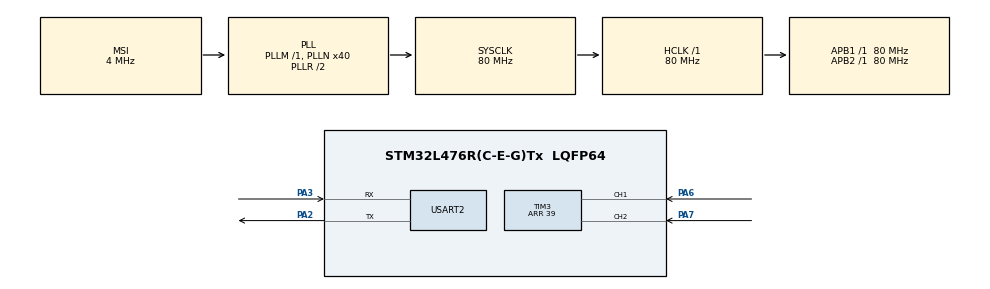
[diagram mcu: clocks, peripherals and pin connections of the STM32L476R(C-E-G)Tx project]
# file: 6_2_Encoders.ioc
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Mcu.Family=STM32L4
Mcu.Name=STM32L476R(C-E-G)Tx
Mcu.Package=LQFP64
NVIC.PriorityGroup=NVIC_PRIORITYGROUP_4
PA13\ (JTMS-SWDIO).Mode=Serial_Wire
PA13\ (JTMS-SWDIO).Signal=SYS_JTMS-SWDIO
PA14\ (JTCK-SWCLK).Mode=Serial_Wire
PA14\ (JTCK-SWCLK).Signal=SYS_JTCK-SWCLK
PA2.Mode=Asynchronous
PA2.Signal=USART2_TX
PA3.Mode=Asynchronous
PA3.Signal=USART2_RX
PA6.Signal=S_TIM3_CH1
PA7.Signal=S_TIM3_CH2
ProjectManager.HeapSize=0x200
ProjectManager.StackSize=0x400
ProjectManager.TargetToolchain=STM32CubeIDE
RCC.AHBFreq_Value=80000000
RCC.APB1Freq_Value=80000000
RCC.APB1TimFreq_Value=80000000
RCC.APB2Freq_Value=80000000
RCC.APB2TimFreq_Value=80000000
RCC.CortexFreq_Value=80000000
RCC.HCLKFreq_Value=80000000
RCC.HSE_VALUE=8000000
RCC.HSI_VALUE=16000000
RCC.LSE_VALUE=32768
RCC.MSI_VALUE=4000000
RCC.PLLN=40
RCC.SYSCLKFreq_VALUE=80000000
RCC.SYSCLKSource=RCC_SYSCLKSOURCE_PLLCLK
RCC.VCOOutputFreq_Value=160000000
SH.S_TIM3_CH1.0=TIM3_CH1,Encoder_Interface
SH.S_TIM3_CH2.0=TIM3_CH2,Encoder_Interface
TIM3.IC1Filter=15
TIM3.IC2Filter=15
TIM3.Period=39
USART2.VirtualMode-Asynchronous=VM_ASYNC
board=custom

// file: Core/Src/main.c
/* USER CODE BEGIN Header */
/**
  ******************************************************************************
  * @file           : main.c
  * @brief          : Main program body
  ******************************************************************************
  * @attention
  *
  * Copyright (c) 2024 STMicroelectronics.
  * All rights reserved.
  *
  * This software is licensed under terms that can be found in the LICENSE file
  * in the root directory of this software component.
  * If no LICENSE file comes with this software, it is provided AS-IS.
  *
  ******************************************************************************
  */
/* USER CODE END Header */
#include "main.h"

/* USER CODE BEGIN Includes */
#include <stdio.h>
/* USER CODE END Includes */

TIM_HandleTypeDef htim3;

UART_HandleTypeDef huart2;

void SystemClock_Config(void);
static void MX_GPIO_Init(void);
static void MX_USART2_UART_Init(void);
static void MX_TIM3_Init(void);

/* USER CODE BEGIN 0 */
int __io_putchar(int ch)
{
	if(ch=='\n')
	{
		uint8_t ch2='\r';	//to fix end of line
		HAL_UART_Transmit(&huart2, (uint8_t*)&ch2, 1, HAL_MAX_DELAY);
	}
    HAL_UART_Transmit(&huart2, (uint8_t*)&ch, 1, HAL_MAX_DELAY);
    return 1;
}

/* USER CODE END 0 */

int main(void)
{

  /* MCU Configuration--------------------------------------------------------*/

  /* Reset of all peripherals, Initializes the Flash interface and the Systick. */
  HAL_Init();

  /* Configure the system clock */
  SystemClock_Config();

  /* Initialize all configured peripherals */
  MX_GPIO_Init();
  MX_USART2_UART_Init();
  MX_TIM3_Init();
  /* USER CODE BEGIN 2 */
  printf("start");
  fflush(stdout);
  HAL_TIM_Encoder_Start(&htim3, TIM_CHANNEL_ALL);
  int16_t prev_value = 0;
  /* USER CODE END 2 */

  /* Infinite loop */
  /* USER CODE BEGIN WHILE */

  while (1)
  {
	  int16_t value = __HAL_TIM_GET_COUNTER(&htim3);
	  if (value != prev_value) {
	  printf("value = %d\n", value);
	  prev_value = value;
	  }
    /* USER CODE END WHILE */

  }
}

void SystemClock_Config(void)
{
  RCC_OscInitTypeDef RCC_OscInitStruct = {0};
  RCC_ClkInitTypeDef RCC_ClkInitStruct = {0};

  /** Configure the main internal regulator output voltage
  */
  if (HAL_PWREx_ControlVoltageScaling(PWR_REGULATOR_VOLTAGE_SCALE1) != HAL_OK)
  {
    Error_Handler();
  }

  /** Initializes the RCC Oscillators according to the specified parameters
  * in the RCC_OscInitTypeDef structure.
  */
  RCC_OscInitStruct.OscillatorType = RCC_OSCILLATORTYPE_MSI;
  RCC_OscInitStruct.MSIState = RCC_MSI_ON;
  RCC_OscInitStruct.MSICalibrationValue = 0;
  RCC_OscInitStruct.MSIClockRange = RCC_MSIRANGE_6;
  RCC_OscInitStruct.PLL.PLLState = RCC_PLL_ON;
  RCC_OscInitStruct.PLL.PLLSource = RCC_PLLSOURCE_MSI;
  RCC_OscInitStruct.PLL.PLLM = 1;
  RCC_OscInitStruct.PLL.PLLN = 40;
  RCC_OscInitStruct.PLL.PLLP = RCC_PLLP_DIV7;
  RCC_OscInitStruct.PLL.PLLQ = RCC_PLLQ_DIV2;
  RCC_OscInitStruct.PLL.PLLR = RCC_PLLR_DIV2;
  if (HAL_RCC_OscConfig(&RCC_OscInitStruct) != HAL_OK)
  {
    Error_Handler();
  }

  /** Initializes the CPU, AHB and APB buses clocks
  */
  RCC_ClkInitStruct.ClockType = RCC_CLOCKTYPE_HCLK|RCC_CLOCKTYPE_SYSCLK
                              |RCC_CLOCKTYPE_PCLK1|RCC_CLOCKTYPE_PCLK2;
  RCC_ClkInitStruct.SYSCLKSource = RCC_SYSCLKSOURCE_PLLCLK;
  RCC_ClkInitStruct.AHBCLKDivider = RCC_SYSCLK_DIV1;
  RCC_ClkInitStruct.APB1CLKDivider = RCC_HCLK_DIV1;
  RCC_ClkInitStruct.APB2CLKDivider = RCC_HCLK_DIV1;

  if (HAL_RCC_ClockConfig(&RCC_ClkInitStruct, FLASH_LATENCY_4) != HAL_OK)
  {
    Error_Handler();
  }
}

static void MX_TIM3_Init(void)
{

  TIM_Encoder_InitTypeDef sConfig = {0};
  TIM_MasterConfigTypeDef sMasterConfig = {0};

  htim3.Instance = TIM3;
  htim3.Init.Prescaler = 0;
  htim3.Init.CounterMode = TIM_COUNTERMODE_UP;
  htim3.Init.Period = 39;
  htim3.Init.ClockDivision = TIM_CLOCKDIVISION_DIV1;
  htim3.Init.AutoReloadPreload = TIM_AUTORELOAD_PRELOAD_DISABLE;
  sConfig.EncoderMode = TIM_ENCODERMODE_TI1;
  sConfig.IC1Polarity = TIM_ICPOLARITY_RISING;
  sConfig.IC1Selection = TIM_ICSELECTION_DIRECTTI;
  sConfig.IC1Prescaler = TIM_ICPSC_DIV1;
  sConfig.IC1Filter = 15;
  sConfig.IC2Polarity = TIM_ICPOLARITY_RISING;
  sConfig.IC2Selection = TIM_ICSELECTION_DIRECTTI;
  sConfig.IC2Prescaler = TIM_ICPSC_DIV1;
  sConfig.IC2Filter = 15;
  if (HAL_TIM_Encoder_Init(&htim3, &sConfig) != HAL_OK)
  {
    Error_Handler();
  }
  sMasterConfig.MasterOutputTrigger = TIM_TRGO_RESET;
  sMasterConfig.MasterSlaveMode = TIM_MASTERSLAVEMODE_DISABLE;
  if (HAL_TIMEx_MasterConfigSynchronization(&htim3, &sMasterConfig) != HAL_OK)
  {
    Error_Handler();
  }

}

static void MX_USART2_UART_Init(void)
{

  huart2.Instance = USART2;
  huart2.Init.BaudRate = 115200;
  huart2.Init.WordLength = UART_WORDLENGTH_8B;
  huart2.Init.StopBits = UART_STOPBITS_1;
  huart2.Init.Parity = UART_PARITY_NONE;
  huart2.Init.Mode = UART_MODE_TX_RX;
  huart2.Init.HwFlowCtl = UART_HWCONTROL_NONE;
  huart2.Init.OverSampling = UART_OVERSAMPLING_16;
  huart2.Init.OneBitSampling = UART_ONE_BIT_SAMPLE_DISABLE;
  huart2.AdvancedInit.AdvFeatureInit = UART_ADVFEATURE_NO_INIT;
  if (HAL_UART_Init(&huart2) != HAL_OK)
  {
    Error_Handler();
  }

}

static void MX_GPIO_Init(void)
{

  /* GPIO Ports Clock Enable */
  __HAL_RCC_GPIOA_CLK_ENABLE();

}

void Error_Handler(void)
{
  __disable_irq();
  while (1)
  {
  }
}
